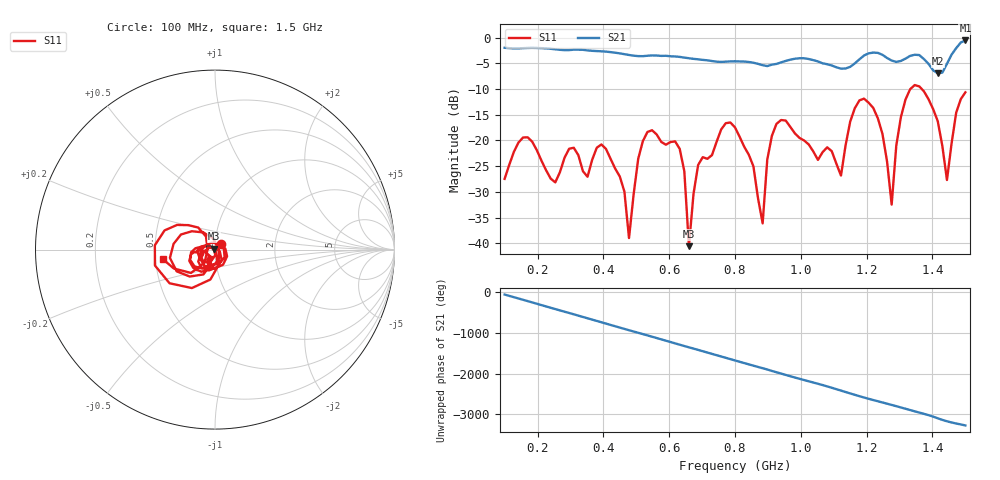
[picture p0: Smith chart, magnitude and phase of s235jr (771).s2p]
! NanoVNA-App
! Date: 2025-09-25 15:10:10
! Start: 100MHz Stop: 1,5GHz Points: 101
! S-Parameter data: F S11 S21 S12 S22
# Hz S RI R 50
!  Frequency  S11_Real  S11_Imag  S21_Real  S21_Imag  S12_Real  S12_Imag  S22_Real  S22_Imag
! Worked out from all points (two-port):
!   101 points, 100 MHz to 1.5 GHz, reference 50 ohm
!   highest |S21| = -0.54 dB at 1.5 GHz (marker M1); lowest = -6.9 dB at 1.416 GHz (marker M2)
!   |S21| within 3 dB of the highest: start of sweep to 498.5 MHz; 1.191 GHz to 1.253 GHz (61.95 MHz wide, 5.07 % of centre) (the widest 2 of 6)
!   lowest |S11| = -40.6 dB at 660 MHz (marker M3), VSWR 1.02, Z = 49.2 + j0.539 ohm
!   |S11| at or under -10 dB: start of sweep to 1.333 GHz; 1.368 GHz to end of sweep
!   S12 and S22 are empty: the file has one direction only
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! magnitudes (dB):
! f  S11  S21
! 100 MHz  -27.5  -2.0
! 156 MHz  -19.4  -2.0
! 338 MHz  -26.0  -2.4
! 408 MHz  -21.6  -2.7
! 478 MHz  -39.0  -3.4
! 520 MHz  -20.1  -3.6
! 576 MHz  -20.3  -3.5
! 632 MHz  -21.6  -3.7
! 660 MHz  -40.6  -4.0
! 688 MHz  -24.8  -4.2
! 800 MHz  -17.5  -4.6
! 884 MHz  -36.1  -5.4
! 926 MHz  -16.8  -5.1
! 1.038 GHz  -22.1  -4.4
! 1.122 GHz  -26.8  -6.0
! 1.192 GHz  -11.9  -3.5
! 1.248 GHz  -18.7  -3.3
! 1.276 GHz  -32.5  -4.5
! 1.332 GHz  -10.0  -3.5
! 1.416 GHz  -16.2  -6.9
! 1.444 GHz  -27.7  -5.1
! 1.5 GHz  -10.6  -0.5
